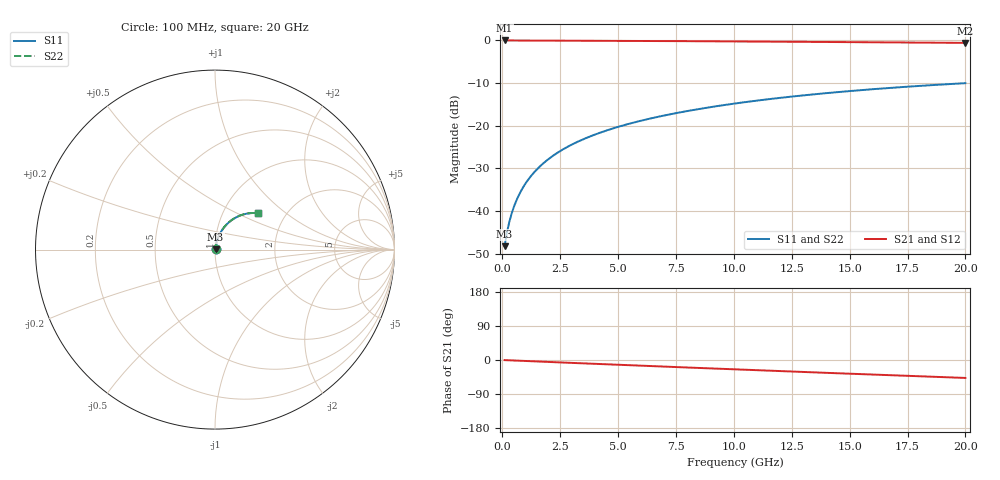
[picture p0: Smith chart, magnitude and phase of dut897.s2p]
! Touchstone file exported from HFSS 2026.1.0
!  File:  C:/ffzhzh/LocalFiles/Ansys_Project_Files/temp_train_BSMRDL_897_1783171335_55132.aedt
!  Generated:  09:23:38 PM Jul  4, 2026
!  Design:  BSMRDL
!  Project:  temp_train_BSMRDL_897_1783171335_55132
! Variables:
!  h_bsmrdl = 5.8um
!  h_ox = 20um
!  h_rdl = 5um
!  h_sub = 80um
!  h_tmrdl = 5um
!  h_tsv = 80um
!  h_via = 3um
!  l_bsmrdl = 790.46um
!  l_sub = 1190.46um
!  l_tmrdl = 200um
!  m_sub = 200um
!  pitch = 31.64um
!  r_tsv = 6um
!  s_tmrdl = 10um
!  w_bsmrdl = 16.18um
!  w_sub = 500um
!  w_tmrdl = 12um
!  x_tsv_center1 = 206um
!  x_tsv_center2 = 1012.64um
!  x_tsv_center3 = 1224.64um
!  x_tsv_center4 = 2031.28um
!  x_tsv_center5 = 2243.28um
!  x_tsv_center6 = 3049.92um
# GHz S MA R 50.000000
! Terminal data exported
! Port[1] = BSM_RDL1_1_T1
! Port[2] = BSM_RDL1_1_T2
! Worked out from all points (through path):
!   200 points, 100 MHz to 20 GHz, reference 50 ohm
!   highest |S21| = -0.03 dB at 100 MHz (marker M1); lowest = -0.6 dB at 20 GHz (marker M2)
!   group delay of S21, straight-line fit = 6.56 ps
!   lowest |S11| = -48.2 dB at 100 MHz (marker M3), VSWR 1.01, Z = 50.3 + j0.23 ohm
!   |S11| at or under -10 dB: start of sweep to end of sweep
!   |S22| runs from -48.2 to -10.0 dB; largest |S21 - S12| = 1.2e-14
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0.1  0.003873 36.2  0.9969 -0.3  0.9969 -0.3  0.003873 36.2
! Gamma 0 0 0 0
! Port Impedance 50 0 50 0
0.2  0.005559 52.9  0.9967 -0.5  0.9967 -0.5  0.005558 52.9
0.3  0.007395 61.1  0.9965 -0.8  0.9965 -0.8  0.007395 61.1
0.4  0.00927 66.0  0.9964 -1.1  0.9964 -1.1  0.00927 66.0
0.5  0.01117 69.3  0.9962 -1.3  0.9962 -1.3  0.01117 69.3
0.6  0.0131 71.6  0.9961 -1.6  0.9961 -1.6  0.0131 71.6
0.8  0.01701 74.5  0.9959 -2.1  0.9959 -2.1  0.01701 74.5
1.1  0.02294 76.7  0.9956 -2.8  0.9956 -2.8  0.02294 76.7
1.3  0.0269 77.4  0.9953 -3.3  0.9953 -3.3  0.0269 77.4
1.6  0.03284 77.8  0.9949 -4.1  0.9949 -4.1  0.03284 77.8
2.1  0.04265 77.7  0.994 -5.4  0.994 -5.4  0.04265 77.7
2.7  0.05426 77.0  0.9927 -6.9  0.9927 -6.9  0.05426 77.0
3.5  0.06939 75.5  0.9908 -8.9  0.9908 -8.9  0.06939 75.5
4.2  0.08234 74.1  0.989 -10.6  0.989 -10.6  0.08233 74.1
5  0.09681 72.4  0.9869 -12.6  0.9869 -12.6  0.09681 72.4
5.9  0.1128 70.5  0.9843 -14.8  0.9843 -14.8  0.1127 70.5
6.8  0.1283 68.6  0.9817 -16.9  0.9817 -16.9  0.1283 68.6
8.3  0.1536 65.3  0.977 -20.5  0.977 -20.5  0.1536 65.3
10.1  0.1827 61.4  0.971 -24.8  0.971 -24.8  0.1827 61.4
13.4  0.2323 54.2  0.959 -32.5  0.959 -32.5  0.2323 54.2
16.7  0.2765 47.0  0.9463 -40.0  0.9463 -40.0  0.2765 47.0
20  0.3148 40.0  0.9337 -47.3  0.9337 -47.3  0.3148 40.0
